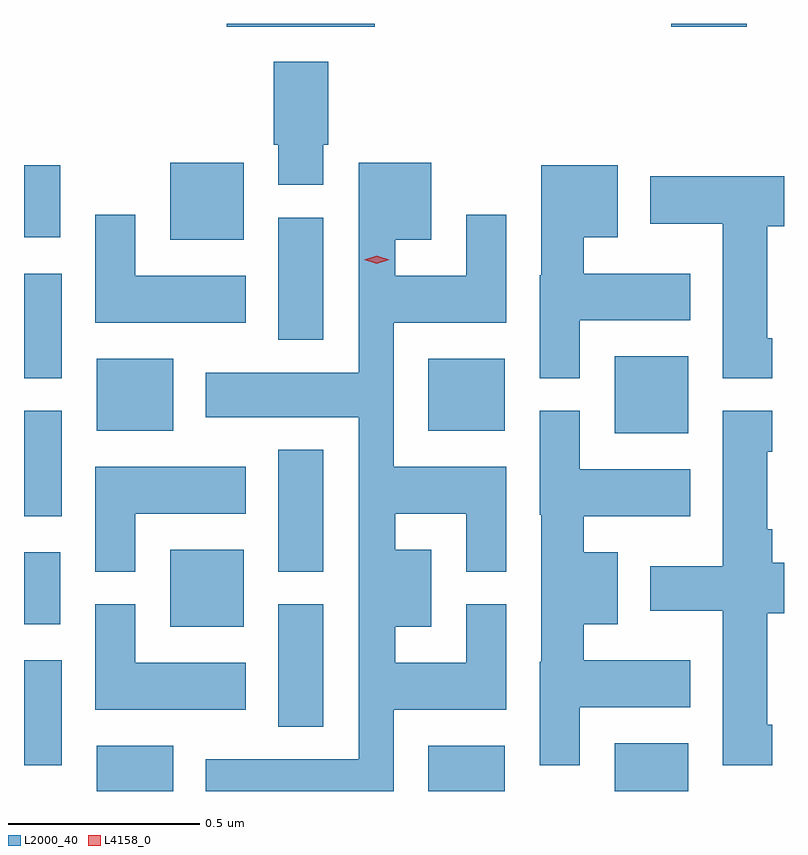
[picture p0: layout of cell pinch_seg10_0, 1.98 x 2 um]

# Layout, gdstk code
import gdstk
lib = gdstk.Library(unit=1e-6, precision=1e-09)
def R(c, l, rs):  # rectangles x0, y0, x1, y1
    for r in rs: c.add(gdstk.rectangle(r[:2], r[2:], *l))
def P(c, l, *ps):  # polygons
    for p in ps: c.add(gdstk.Polygon(p, *l))
L2000_40 = (2000, 40)
L4158_0 = (4158, 0)

pinch_seg10_0 = lib.new_cell('pinch_seg10_0')
R(pinch_seg10_0, L2000_40, [(1146.662,1307.021,1146.862,1307.14), (1147.526,1307.021,1147.726,1307.14), (1148.012,1307.021,1148.203,1307.146), (1146.473,1307.089,1146.571,1307.362), (1147.136,1307.189,1147.252,1307.508), (1146.854,1307.45,1147.045,1307.65), (1146.473,1307.456,1146.568,1307.644), (1147.136,1307.593,1147.252,1307.911), (1146.473,1307.738,1146.571,1308.012), (1148.012,1307.954,1148.203,1308.154), (1146.662,1307.96,1146.862,1308.148), (1147.526,1307.96,1147.726,1308.148), (1146.473,1308.097,1146.571,1308.37), (1147.136,1308.197,1147.252,1308.516), (1146.854,1308.458,1147.045,1308.658), (1146.473,1308.464,1146.568,1308.652), (1147.001,1309.013,1147.387,1309.021), (1148.159,1309.013,1148.356,1309.021)])
P(pinch_seg10_0, L2000_40, [(1147.252,1308.706),(1147.265,1308.706),(1147.265,1308.922),(1147.124,1308.922),(1147.124,1308.706),(1147.136,1308.706),(1147.136,1308.601),(1147.252,1308.601)],
  [(1147.436,1307.234),(1147.729,1307.234),(1147.729,1307.508),(1147.625,1307.508),(1147.625,1307.356),(1147.44,1307.356),(1147.44,1307.45),(1147.534,1307.45),(1147.534,1307.65),(1147.44,1307.65),(1147.44,1307.744),(1147.625,1307.744),(1147.625,1307.593),(1147.729,1307.593),(1147.729,1307.866),(1147.436,1307.866),(1147.436,1308.242),(1147.729,1308.242),(1147.729,1308.523),(1147.625,1308.523),(1147.625,1308.364),(1147.44,1308.364),(1147.44,1308.458),(1147.534,1308.458),(1147.534,1308.658),(1147.345,1308.658),(1147.345,1308.112),(1146.947,1308.112),(1146.947,1307.996),(1147.345,1307.996),(1147.345,1307.104),(1146.947,1307.104),(1146.947,1307.021),(1147.436,1307.021)],
  [(1147.921,1308.248),(1148.209,1308.248),(1148.209,1308.37),(1147.931,1308.37),(1147.931,1308.464),(1148.02,1308.464),(1148.02,1308.652),(1147.82,1308.652),(1147.82,1308.366),(1147.817,1308.366),(1147.817,1308.097),(1147.921,1308.097)],
  [(1148.423,1308.202),(1148.41,1308.202),(1148.41,1308.493),(1148.453,1308.493),(1148.453,1308.624),(1148.105,1308.624),(1148.105,1308.5),(1148.294,1308.5),(1148.294,1308.097),(1148.423,1308.097)],
  [(1147.051,1308.364),(1146.763,1308.364),(1146.763,1308.523),(1146.659,1308.523),(1146.659,1308.242),(1147.051,1308.242)],
  [(1148.423,1307.194),(1148.41,1307.194),(1148.41,1307.485),(1148.453,1307.485),(1148.453,1307.616),(1148.423,1307.616),(1148.423,1307.704),(1148.41,1307.704),(1148.41,1307.906),(1148.423,1307.906),(1148.423,1308.012),(1148.294,1308.012),(1148.294,1307.608),(1148.105,1307.608),(1148.105,1307.492),(1148.294,1307.492),(1148.294,1307.089),(1148.423,1307.089)],
  [(1147.921,1307.24),(1148.209,1307.24),(1148.209,1307.362),(1147.931,1307.362),(1147.931,1307.456),(1148.02,1307.456),(1148.02,1307.644),(1147.931,1307.644),(1147.931,1307.738),(1148.209,1307.738),(1148.209,1307.86),(1147.921,1307.86),(1147.921,1308.012),(1147.817,1308.012),(1147.817,1307.742),(1147.82,1307.742),(1147.82,1307.358),(1147.817,1307.358),(1147.817,1307.089),(1147.921,1307.089)],
  [(1146.763,1307.744),(1147.051,1307.744),(1147.051,1307.866),(1146.659,1307.866),(1146.659,1307.593),(1146.763,1307.593)],
  [(1147.051,1307.356),(1146.763,1307.356),(1146.763,1307.508),(1146.659,1307.508),(1146.659,1307.234),(1147.051,1307.234)])
P(pinch_seg10_0, L4158_0, [(1147.392,1308.396),(1147.36,1308.406),(1147.36,1308.406),(1147.36,1308.406),(1147.392,1308.416),(1147.424,1308.406),(1147.424,1308.406),(1147.424,1308.406)])

lib.write_gds('pinch_seg10_0.gds')
